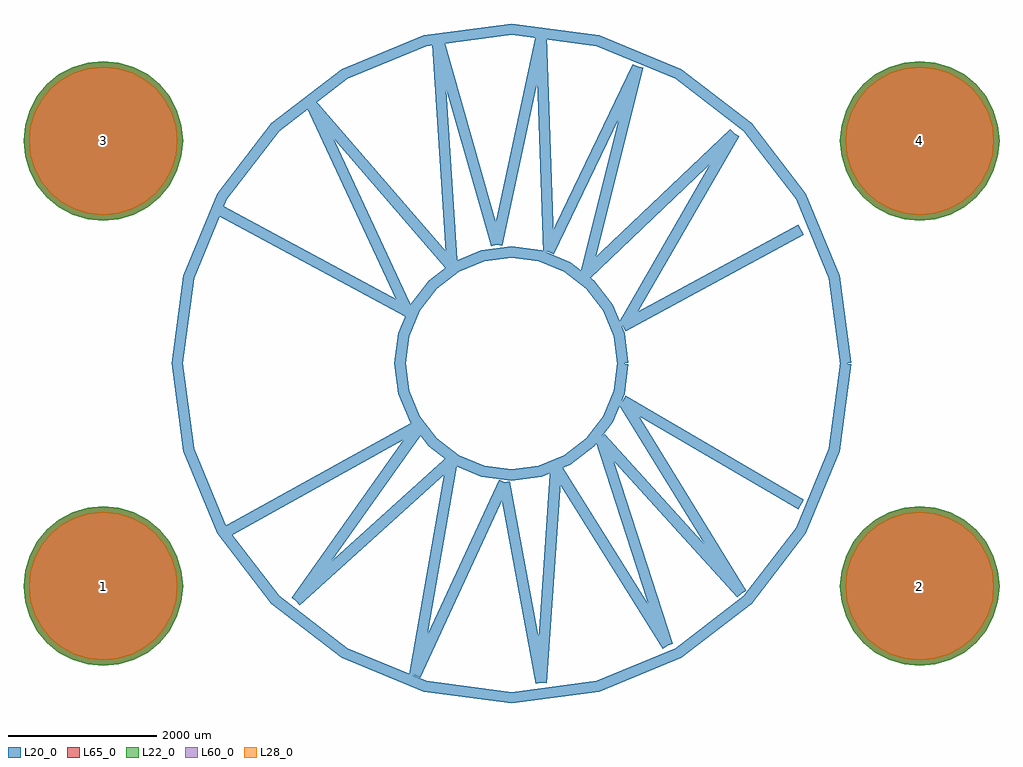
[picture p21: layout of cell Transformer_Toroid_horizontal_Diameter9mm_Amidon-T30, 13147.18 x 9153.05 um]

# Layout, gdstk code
import gdstk
lib = gdstk.Library(unit=1e-6, precision=1e-09)
def P(c, l, *ps):  # polygons
    for p in ps: c.add(gdstk.Polygon(p, *l))
L20_0 = (20, 0)
L22_0 = (22, 0)
L28_0 = (28, 0)
L60_0 = (60, 0)
L65_0 = (65, 0)

transformer_toroid_horiz = lib.new_cell('Transformer_Toroid_horizontal_Diameter9mm_Amidon-T30')
P(transformer_toroid_horiz, L22_0, [(6573.59,2999.74),(6552.944,3209.363),(6491.799,3410.93),(6392.506,3596.695),(6258.879,3759.519),(6096.055,3893.146),(5910.29,3992.439),(5708.723,4053.584),(5499.1,4074.23),(5289.477,4053.584),(5087.91,3992.439),(4902.145,3893.146),(4739.321,3759.519),(4605.694,3596.695),(4506.401,3410.93),(4445.256,3209.363),(4424.61,2999.74),(4445.256,2790.117),(4506.401,2588.55),(4605.694,2402.785),(4739.321,2239.961),(4902.145,2106.334),(5087.91,2007.041),(5289.477,1945.896),(5499.1,1925.25),(5708.723,1945.896),(5910.29,2007.041),(6096.055,2106.334),(6258.879,2239.961),(6392.506,2402.785),(6491.799,2588.55),(6552.944,2790.117)],
  [(-4424.61,2999.74),(-4445.256,3209.363),(-4506.401,3410.93),(-4605.694,3596.695),(-4739.321,3759.519),(-4902.145,3893.146),(-5087.91,3992.439),(-5289.477,4053.584),(-5499.1,4074.23),(-5708.723,4053.584),(-5910.29,3992.439),(-6096.055,3893.146),(-6258.879,3759.519),(-6392.506,3596.695),(-6491.799,3410.93),(-6552.944,3209.363),(-6573.59,2999.74),(-6552.944,2790.117),(-6491.799,2588.55),(-6392.506,2402.785),(-6258.879,2239.961),(-6096.055,2106.334),(-5910.29,2007.041),(-5708.723,1945.896),(-5499.1,1925.25),(-5289.477,1945.896),(-5087.91,2007.041),(-4902.145,2106.334),(-4739.321,2239.961),(-4605.694,2402.785),(-4506.401,2588.55),(-4445.256,2790.117)],
  [(6573.59,-2999.74),(6552.944,-2790.117),(6491.799,-2588.55),(6392.506,-2402.785),(6258.879,-2239.961),(6096.055,-2106.334),(5910.29,-2007.041),(5708.723,-1945.896),(5499.1,-1925.25),(5289.477,-1945.896),(5087.91,-2007.041),(4902.145,-2106.334),(4739.321,-2239.961),(4605.694,-2402.785),(4506.401,-2588.55),(4445.256,-2790.117),(4424.61,-2999.74),(4445.256,-3209.363),(4506.401,-3410.93),(4605.694,-3596.695),(4739.321,-3759.519),(4902.145,-3893.146),(5087.91,-3992.439),(5289.477,-4053.584),(5499.1,-4074.23),(5708.723,-4053.584),(5910.29,-3992.439),(6096.055,-3893.146),(6258.879,-3759.519),(6392.506,-3596.695),(6491.799,-3410.93),(6552.944,-3209.363)],
  [(-4424.61,-2999.74),(-4445.256,-2790.117),(-4506.401,-2588.55),(-4605.694,-2402.785),(-4739.321,-2239.961),(-4902.145,-2106.334),(-5087.91,-2007.041),(-5289.477,-1945.896),(-5499.1,-1925.25),(-5708.723,-1945.896),(-5910.29,-2007.041),(-6096.055,-2106.334),(-6258.879,-2239.961),(-6392.506,-2402.785),(-6491.799,-2588.55),(-6552.944,-2790.117),(-6573.59,-2999.74),(-6552.944,-3209.363),(-6491.799,-3410.93),(-6392.506,-3596.695),(-6258.879,-3759.519),(-6096.055,-3893.146),(-5910.29,-3992.439),(-5708.723,-4053.584),(-5499.1,-4074.23),(-5289.477,-4053.584),(-5087.91,-3992.439),(-4902.145,-3893.146),(-4739.321,-3759.519),(-4605.694,-3596.695),(-4506.401,-3410.93),(-4445.256,-3209.363)])
P(transformer_toroid_horiz, L28_0, [(6498.59,2999.74),(6479.385,3194.731),(6422.508,3382.228),(6330.146,3555.027),(6205.846,3706.486),(6054.387,3830.786),(5881.588,3923.148),(5694.091,3980.025),(5499.1,3999.23),(5304.109,3980.025),(5116.612,3923.148),(4943.813,3830.786),(4792.354,3706.486),(4668.054,3555.027),(4575.692,3382.228),(4518.815,3194.731),(4499.61,2999.74),(4518.815,2804.749),(4575.692,2617.252),(4668.054,2444.453),(4792.354,2292.994),(4943.813,2168.694),(5116.612,2076.332),(5304.109,2019.455),(5499.1,2000.25),(5694.091,2019.455),(5881.588,2076.332),(6054.387,2168.694),(6205.846,2292.994),(6330.146,2444.453),(6422.508,2617.252),(6479.385,2804.749)],
  [(-4499.61,2999.74),(-4518.815,3194.731),(-4575.692,3382.228),(-4668.054,3555.027),(-4792.354,3706.486),(-4943.813,3830.786),(-5116.612,3923.148),(-5304.109,3980.025),(-5499.1,3999.23),(-5694.091,3980.025),(-5881.588,3923.148),(-6054.387,3830.786),(-6205.846,3706.486),(-6330.146,3555.027),(-6422.508,3382.228),(-6479.385,3194.731),(-6498.59,2999.74),(-6479.385,2804.749),(-6422.508,2617.252),(-6330.146,2444.453),(-6205.846,2292.994),(-6054.387,2168.694),(-5881.588,2076.332),(-5694.091,2019.455),(-5499.1,2000.25),(-5304.109,2019.455),(-5116.612,2076.332),(-4943.813,2168.694),(-4792.354,2292.994),(-4668.054,2444.453),(-4575.692,2617.252),(-4518.815,2804.749)],
  [(6498.59,-2999.74),(6479.385,-2804.749),(6422.508,-2617.252),(6330.146,-2444.453),(6205.846,-2292.994),(6054.387,-2168.694),(5881.588,-2076.332),(5694.091,-2019.455),(5499.1,-2000.25),(5304.109,-2019.455),(5116.612,-2076.332),(4943.813,-2168.694),(4792.354,-2292.994),(4668.054,-2444.453),(4575.692,-2617.252),(4518.815,-2804.749),(4499.61,-2999.74),(4518.815,-3194.731),(4575.692,-3382.228),(4668.054,-3555.027),(4792.354,-3706.486),(4943.813,-3830.786),(5116.612,-3923.148),(5304.109,-3980.025),(5499.1,-3999.23),(5694.091,-3980.025),(5881.588,-3923.148),(6054.387,-3830.786),(6205.846,-3706.486),(6330.146,-3555.027),(6422.508,-3382.228),(6479.385,-3194.731)],
  [(-4499.61,-2999.74),(-4518.815,-2804.749),(-4575.692,-2617.252),(-4668.054,-2444.453),(-4792.354,-2292.994),(-4943.813,-2168.694),(-5116.612,-2076.332),(-5304.109,-2019.455),(-5499.1,-2000.25),(-5694.091,-2019.455),(-5881.588,-2076.332),(-6054.387,-2168.694),(-6205.846,-2292.994),(-6330.146,-2444.453),(-6422.508,-2617.252),(-6479.385,-2804.749),(-6498.59,-2999.74),(-6479.385,-3194.731),(-6422.508,-3382.228),(-6330.146,-3555.027),(-6205.846,-3706.486),(-6054.387,-3830.786),(-5881.588,-3923.148),(-5694.091,-3980.025),(-5499.1,-3999.23),(-5304.109,-3980.025),(-5116.612,-3923.148),(-4943.813,-3830.786),(-4792.354,-3706.486),(-4668.054,-3555.027),(-4575.692,-3382.228),(-4518.815,-3194.731)])
P(transformer_toroid_horiz, L60_0, [(6498.59,2999.74),(6479.385,3194.731),(6422.508,3382.228),(6330.146,3555.027),(6205.846,3706.486),(6054.387,3830.786),(5881.588,3923.148),(5694.091,3980.025),(5499.1,3999.23),(5304.109,3980.025),(5116.612,3923.148),(4943.813,3830.786),(4792.354,3706.486),(4668.054,3555.027),(4575.692,3382.228),(4518.815,3194.731),(4499.61,2999.74),(4518.815,2804.749),(4575.692,2617.252),(4668.054,2444.453),(4792.354,2292.994),(4943.813,2168.694),(5116.612,2076.332),(5304.109,2019.455),(5499.1,2000.25),(5694.091,2019.455),(5881.588,2076.332),(6054.387,2168.694),(6205.846,2292.994),(6330.146,2444.453),(6422.508,2617.252),(6479.385,2804.749)],
  [(-4499.61,2999.74),(-4518.815,3194.731),(-4575.692,3382.228),(-4668.054,3555.027),(-4792.354,3706.486),(-4943.813,3830.786),(-5116.612,3923.148),(-5304.109,3980.025),(-5499.1,3999.23),(-5694.091,3980.025),(-5881.588,3923.148),(-6054.387,3830.786),(-6205.846,3706.486),(-6330.146,3555.027),(-6422.508,3382.228),(-6479.385,3194.731),(-6498.59,2999.74),(-6479.385,2804.749),(-6422.508,2617.252),(-6330.146,2444.453),(-6205.846,2292.994),(-6054.387,2168.694),(-5881.588,2076.332),(-5694.091,2019.455),(-5499.1,2000.25),(-5304.109,2019.455),(-5116.612,2076.332),(-4943.813,2168.694),(-4792.354,2292.994),(-4668.054,2444.453),(-4575.692,2617.252),(-4518.815,2804.749)],
  [(6498.59,-2999.74),(6479.385,-2804.749),(6422.508,-2617.252),(6330.146,-2444.453),(6205.846,-2292.994),(6054.387,-2168.694),(5881.588,-2076.332),(5694.091,-2019.455),(5499.1,-2000.25),(5304.109,-2019.455),(5116.612,-2076.332),(4943.813,-2168.694),(4792.354,-2292.994),(4668.054,-2444.453),(4575.692,-2617.252),(4518.815,-2804.749),(4499.61,-2999.74),(4518.815,-3194.731),(4575.692,-3382.228),(4668.054,-3555.027),(4792.354,-3706.486),(4943.813,-3830.786),(5116.612,-3923.148),(5304.109,-3980.025),(5499.1,-3999.23),(5694.091,-3980.025),(5881.588,-3923.148),(6054.387,-3830.786),(6205.846,-3706.486),(6330.146,-3555.027),(6422.508,-3382.228),(6479.385,-3194.731)],
  [(-4499.61,-2999.74),(-4518.815,-2804.749),(-4575.692,-2617.252),(-4668.054,-2444.453),(-4792.354,-2292.994),(-4943.813,-2168.694),(-5116.612,-2076.332),(-5304.109,-2019.455),(-5499.1,-2000.25),(-5694.091,-2019.455),(-5881.588,-2076.332),(-6054.387,-2168.694),(-6205.846,-2292.994),(-6330.146,-2444.453),(-6422.508,-2617.252),(-6479.385,-2804.749),(-6498.59,-2999.74),(-6479.385,-3194.731),(-6422.508,-3382.228),(-6330.146,-3555.027),(-6205.846,-3706.486),(-6054.387,-3830.786),(-5881.588,-3923.148),(-5694.091,-3980.025),(-5499.1,-3999.23),(-5304.109,-3980.025),(-5116.612,-3923.148),(-4943.813,-3830.786),(-4792.354,-3706.486),(-4668.054,-3555.027),(-4575.692,-3382.228),(-4518.815,-3194.731)])
P(transformer_toroid_horiz, L65_0, [(6573.59,2999.74),(6552.944,3209.363),(6491.799,3410.93),(6392.506,3596.695),(6258.879,3759.519),(6096.055,3893.146),(5910.29,3992.439),(5708.723,4053.584),(5499.1,4074.23),(5289.477,4053.584),(5087.91,3992.439),(4902.145,3893.146),(4739.321,3759.519),(4605.694,3596.695),(4506.401,3410.93),(4445.256,3209.363),(4424.61,2999.74),(4445.256,2790.117),(4506.401,2588.55),(4605.694,2402.785),(4739.321,2239.961),(4902.145,2106.334),(5087.91,2007.041),(5289.477,1945.896),(5499.1,1925.25),(5708.723,1945.896),(5910.29,2007.041),(6096.055,2106.334),(6258.879,2239.961),(6392.506,2402.785),(6491.799,2588.55),(6552.944,2790.117)],
  [(-4424.61,2999.74),(-4445.256,3209.363),(-4506.401,3410.93),(-4605.694,3596.695),(-4739.321,3759.519),(-4902.145,3893.146),(-5087.91,3992.439),(-5289.477,4053.584),(-5499.1,4074.23),(-5708.723,4053.584),(-5910.29,3992.439),(-6096.055,3893.146),(-6258.879,3759.519),(-6392.506,3596.695),(-6491.799,3410.93),(-6552.944,3209.363),(-6573.59,2999.74),(-6552.944,2790.117),(-6491.799,2588.55),(-6392.506,2402.785),(-6258.879,2239.961),(-6096.055,2106.334),(-5910.29,2007.041),(-5708.723,1945.896),(-5499.1,1925.25),(-5289.477,1945.896),(-5087.91,2007.041),(-4902.145,2106.334),(-4739.321,2239.961),(-4605.694,2402.785),(-4506.401,2588.55),(-4445.256,2790.117)],
  [(6573.59,-2999.74),(6552.944,-2790.117),(6491.799,-2588.55),(6392.506,-2402.785),(6258.879,-2239.961),(6096.055,-2106.334),(5910.29,-2007.041),(5708.723,-1945.896),(5499.1,-1925.25),(5289.477,-1945.896),(5087.91,-2007.041),(4902.145,-2106.334),(4739.321,-2239.961),(4605.694,-2402.785),(4506.401,-2588.55),(4445.256,-2790.117),(4424.61,-2999.74),(4445.256,-3209.363),(4506.401,-3410.93),(4605.694,-3596.695),(4739.321,-3759.519),(4902.145,-3893.146),(5087.91,-3992.439),(5289.477,-4053.584),(5499.1,-4074.23),(5708.723,-4053.584),(5910.29,-3992.439),(6096.055,-3893.146),(6258.879,-3759.519),(6392.506,-3596.695),(6491.799,-3410.93),(6552.944,-3209.363)],
  [(-4424.61,-2999.74),(-4445.256,-2790.117),(-4506.401,-2588.55),(-4605.694,-2402.785),(-4739.321,-2239.961),(-4902.145,-2106.334),(-5087.91,-2007.041),(-5289.477,-1945.896),(-5499.1,-1925.25),(-5708.723,-1945.896),(-5910.29,-2007.041),(-6096.055,-2106.334),(-6258.879,-2239.961),(-6392.506,-2402.785),(-6491.799,-2588.55),(-6552.944,-2790.117),(-6573.59,-2999.74),(-6552.944,-3209.363),(-6491.799,-3410.93),(-6392.506,-3596.695),(-6258.879,-3759.519),(-6096.055,-3893.146),(-5910.29,-3992.439),(-5708.723,-4053.584),(-5499.1,-4074.23),(-5289.477,-4053.584),(-5087.91,-3992.439),(-4902.145,-3893.146),(-4739.321,-3759.519),(-4605.694,-3596.695),(-4506.401,-3410.93),(-4445.256,-3209.363)])
transformer_toroid_horiz.add(gdstk.FlexPath([(4500.88,0),(4347.516,1164.913),(3897.876,2250.44),(3182.603,3182.603),(2250.44,3897.876),(1164.913,4347.516),(0,4500.88),(-1164.913,4347.516),(-2250.44,3897.876),(-3182.603,3182.603),(-3897.876,2250.44),(-4347.516,1164.913),(-4500.88,0),(-4347.516,-1164.913),(-3897.876,-2250.44),(-3182.603,-3182.603),(-2250.44,-3897.876),(-1164.913,-4347.516),(0,-4500.88),(1164.913,-4347.516),(2250.44,-3897.876),(3182.603,-3182.603),(3897.876,-2250.44),(4347.516,-1164.913),(4500.88,0)], 149.998, ends="flush", simple_path=True, layer=20, datatype=0))  # L20_0
transformer_toroid_horiz.add(gdstk.FlexPath([(1501.14,0),(1449.99,388.524),(1300.025,750.57),(1061.466,1061.466),(750.57,1300.025),(388.524,1449.99),(0,1501.14),(-388.524,1449.99),(-750.57,1300.025),(-1061.466,1061.466),(-1300.025,750.57),(-1449.99,388.524),(-1501.14,0),(-1449.99,-388.524),(-1300.025,-750.57),(-1061.466,-1061.466),(-750.57,-1300.025),(-388.524,-1449.99),(0,-1501.14),(388.524,-1449.99),(750.57,-1300.025),(1061.466,-1061.466),(1300.025,-750.57),(1449.99,-388.524),(1501.14,0)], 149.998, ends="flush", simple_path=True, layer=20, datatype=0))  # L20_0
transformer_toroid_horiz.add(gdstk.FlexPath([(1501.14,500.38),(3898.9,1800.86)], 149.998, ends="flush", simple_path=True, layer=20, datatype=0))  # L20_0
transformer_toroid_horiz.add(gdstk.FlexPath([(2999.74,3098.8),(1501.14,500.38)], 149.998, ends="flush", simple_path=True, layer=20, datatype=0))  # L20_0
transformer_toroid_horiz.add(gdstk.FlexPath([(1000.76,1198.88),(2999.74,3098.8)], 149.998, ends="flush", simple_path=True, layer=20, datatype=0))  # L20_0
transformer_toroid_horiz.add(gdstk.FlexPath([(1699.26,4000.5),(1000.76,1198.88)], 149.998, ends="flush", simple_path=True, layer=20, datatype=0))  # L20_0
transformer_toroid_horiz.add(gdstk.FlexPath([(500.38,1501.14),(1699.26,4000.5)], 149.998, ends="flush", simple_path=True, layer=20, datatype=0))  # L20_0
transformer_toroid_horiz.add(gdstk.FlexPath([(398.78,4399.28),(500.38,1501.14)], 149.998, ends="flush", simple_path=True, layer=20, datatype=0))  # L20_0
transformer_toroid_horiz.add(gdstk.FlexPath([(-200.66,1600.2),(398.78,4399.28)], 149.998, ends="flush", simple_path=True, layer=20, datatype=0))  # L20_0
transformer_toroid_horiz.add(gdstk.FlexPath([(-1000.76,4399.28),(-200.66,1600.2)], 149.998, ends="flush", simple_path=True, layer=20, datatype=0))  # L20_0
transformer_toroid_horiz.add(gdstk.FlexPath([(-800.1,1300.48),(-1000.76,4399.28)], 149.998, ends="flush", simple_path=True, layer=20, datatype=0))  # L20_0
transformer_toroid_horiz.add(gdstk.FlexPath([(-2700.02,3500.12),(-800.1,1300.48)], 149.998, ends="flush", simple_path=True, layer=20, datatype=0))  # L20_0
transformer_toroid_horiz.add(gdstk.FlexPath([(-1399.54,701.04),(-2700.02,3500.12)], 149.998, ends="flush", simple_path=True, layer=20, datatype=0))  # L20_0
transformer_toroid_horiz.add(gdstk.FlexPath([(-4000.5,2100.58),(-1399.54,701.04)], 149.998, ends="flush", simple_path=True, layer=20, datatype=0))  # L20_0
transformer_toroid_horiz.add(gdstk.FlexPath([(1501.14,-500.38),(3898.9,-1899.92)], 149.998, ends="flush", simple_path=True, layer=20, datatype=0))  # L20_0
transformer_toroid_horiz.add(gdstk.FlexPath([(3098.8,-3098.8),(1501.14,-500.38)], 149.998, ends="flush", simple_path=True, layer=20, datatype=0))  # L20_0
transformer_toroid_horiz.add(gdstk.FlexPath([(1198.88,-1000.76),(3098.8,-3098.8)], 149.998, ends="flush", simple_path=True, layer=20, datatype=0))  # L20_0
transformer_toroid_horiz.add(gdstk.FlexPath([(2100.58,-3799.84),(1198.88,-1000.76)], 149.998, ends="flush", simple_path=True, layer=20, datatype=0))  # L20_0
transformer_toroid_horiz.add(gdstk.FlexPath([(599.44,-1399.54),(2100.58,-3799.84)], 149.998, ends="flush", simple_path=True, layer=20, datatype=0))  # L20_0
transformer_toroid_horiz.add(gdstk.FlexPath([(398.78,-4300.22),(599.44,-1399.54)], 149.998, ends="flush", simple_path=True, layer=20, datatype=0))  # L20_0
transformer_toroid_horiz.add(gdstk.FlexPath([(-99.06,-1600.2),(398.78,-4300.22)], 149.998, ends="flush", simple_path=True, layer=20, datatype=0))  # L20_0
transformer_toroid_horiz.add(gdstk.FlexPath([(-1300.48,-4201.16),(-99.06,-1600.2)], 149.998, ends="flush", simple_path=True, layer=20, datatype=0))  # L20_0
transformer_toroid_horiz.add(gdstk.FlexPath([(-800.1,-1300.48),(-1300.48,-4201.16)], 149.998, ends="flush", simple_path=True, layer=20, datatype=0))  # L20_0
transformer_toroid_horiz.add(gdstk.FlexPath([(-2900.68,-3200.4),(-800.1,-1300.48)], 149.998, ends="flush", simple_path=True, layer=20, datatype=0))  # L20_0
transformer_toroid_horiz.add(gdstk.FlexPath([(-1198.88,-800.1),(-2900.68,-3200.4)], 149.998, ends="flush", simple_path=True, layer=20, datatype=0))  # L20_0
transformer_toroid_horiz.add(gdstk.FlexPath([(-3898.9,-2301.24),(-1198.88,-800.1)], 149.998, ends="flush", simple_path=True, layer=20, datatype=0))  # L20_0
transformer_toroid_horiz.add(gdstk.Label('4', (5499.1,2999.74), layer=28, texttype=0))
transformer_toroid_horiz.add(gdstk.Label('3', (-5499.1,2999.74), layer=28, texttype=0))
transformer_toroid_horiz.add(gdstk.Label('2', (5499.1,-2999.74), layer=28, texttype=0))
transformer_toroid_horiz.add(gdstk.Label('1', (-5499.1,-2999.74), layer=28, texttype=0))
transformer_toroid_horiz.add(gdstk.Label('type', (0,-7620), layer=9, texttype=0))
transformer_toroid_horiz.add(gdstk.Label('devicename', (0,6350), layer=9, texttype=0))

lib.write_gds('Transformer_Toroid_horizontal_Diameter9mm_Amidon-T30.gds')
